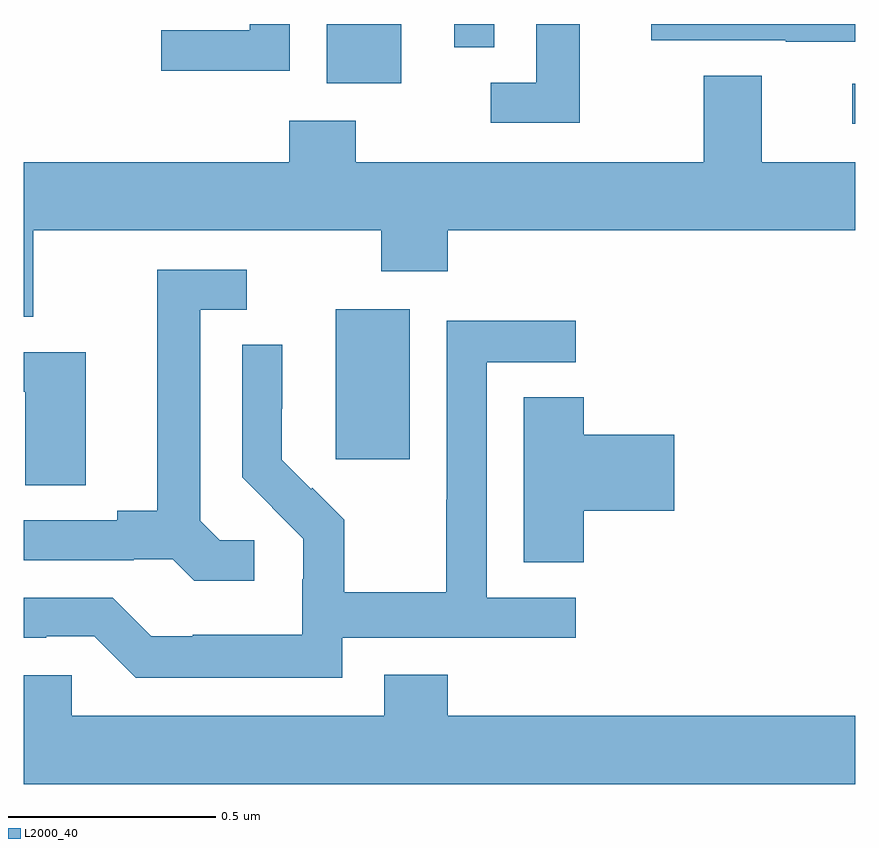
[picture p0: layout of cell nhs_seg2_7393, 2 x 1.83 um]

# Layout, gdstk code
import gdstk
lib = gdstk.Library(unit=1e-6, precision=1e-09)
def R(c, l, rs):  # rectangles x0, y0, x1, y1
    for r in rs: c.add(gdstk.rectangle(r[:2], r[2:], *l))
def P(c, l, *ps):  # polygons
    for p in ps: c.add(gdstk.Polygon(p, *l))
L2000_40 = (2000, 40)

nhs_seg2_7393 = lib.new_cell('nhs_seg2_7393')
R(nhs_seg2_7393, L2000_40, [(203.75,645.753,203.929,646.114), (204.993,646.56,205,646.656), (203.729,646.658,203.908,646.8), (204.036,646.744,204.132,646.8)])
P(nhs_seg2_7393, L2000_40, [(203.64,646.8),(203.544,646.8),(203.544,646.785),(203.331,646.785),(203.331,646.687),(203.64,646.687)],
  [(204.337,646.8),(204.233,646.8),(204.233,646.659),(204.123,646.659),(204.123,646.563),(204.337,646.563)],
  [(205,646.8),(204.509,646.8),(204.509,646.761),(204.833,646.761),(204.833,646.757),(205,646.757)],
  [(203.023,646.304),(203.86,646.304),(203.86,646.205),(204.02,646.205),(204.02,646.304),(205,646.304),(205,646.468),(204.775,646.468),(204.775,646.676),(204.635,646.676),(204.635,646.468),(203.799,646.468),(203.799,646.567),(203.639,646.567),(203.639,646.468),(203,646.468),(203,646.096),(203.023,646.096)],
  [(203.554,645.558),(203.472,645.558),(203.425,645.605),(203.425,646.113),(203.536,646.113),(203.536,646.209),(203.321,646.209),(203.321,645.629),(203.225,645.629),(203.225,645.606),(203,645.606),(203,645.51),(203.264,645.51),(203.264,645.513),(203.358,645.513),(203.41,645.461),(203.554,645.461)],
  [(203.766,645.324),(204.328,645.324),(204.328,645.42),(204.114,645.42),(204.114,645.987),(204.328,645.987),(204.328,646.086),(204.018,646.086),(204.018,645.656),(204.016,645.656),(204.016,645.433),(203.771,645.433),(203.771,645.607),(203.694,645.684),(203.691,645.681),(203.621,645.752),(203.621,645.874),(203.622,645.874),(203.622,646.028),(203.526,646.028),(203.526,645.71),(203.599,645.637),(203.598,645.636),(203.672,645.562),(203.672,645.465),(203.67,645.465),(203.67,645.331),(203.407,645.331),(203.407,645.327),(203.307,645.327),(203.214,645.42),(203,645.42),(203,645.324),(203.054,645.324),(203.054,645.327),(203.169,645.327),(203.269,645.227),(203.766,645.227)],
  [(203.149,646.011),(203,646.011),(203,645.915),(203.004,645.915),(203.004,645.691),(203.149,645.691)],
  [(204.347,645.629),(204.565,645.629),(204.565,645.812),(204.347,645.812),(204.347,645.902),(204.203,645.902),(204.203,645.505),(204.347,645.505)],
  [(205,645.136),(204.02,645.136),(204.02,645.235),(203.867,645.235),(203.867,645.136),(203.115,645.136),(203.115,645.234),(203,645.234),(203,644.972),(205,644.972)])

lib.write_gds('nhs_seg2_7393.gds')
